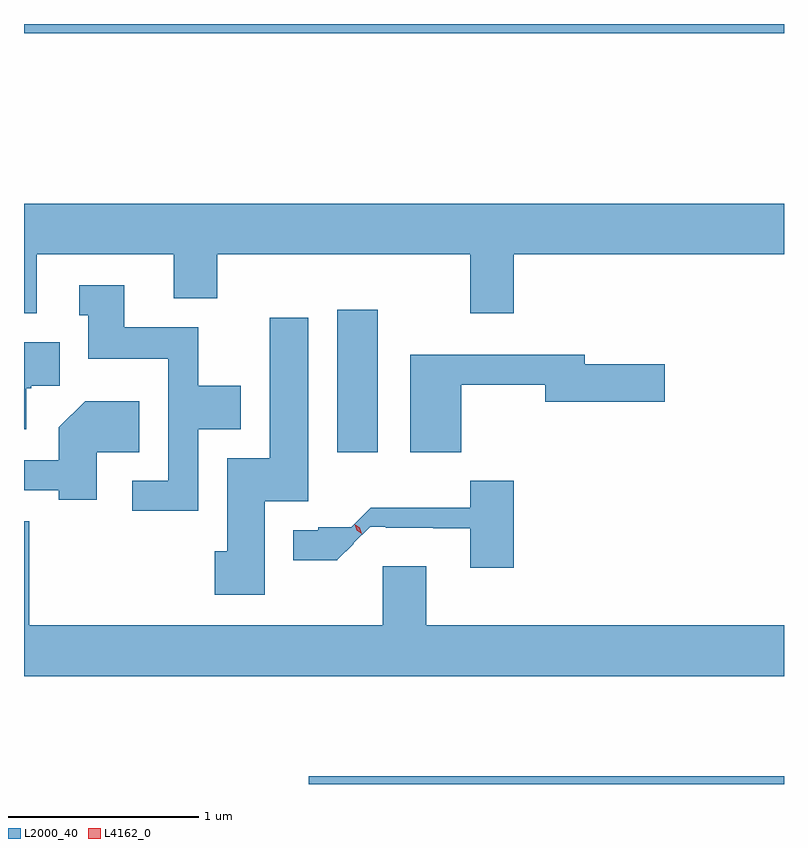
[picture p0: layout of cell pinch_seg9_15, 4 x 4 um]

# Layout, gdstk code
import gdstk
lib = gdstk.Library(unit=1e-6, precision=1e-09)
def R(c, l, rs):  # rectangles x0, y0, x1, y1
    for r in rs: c.add(gdstk.rectangle(r[:2], r[2:], *l))
def P(c, l, *ps):  # polygons
    for p in ps: c.add(gdstk.Polygon(p, *l))
L2000_40 = (2000, 40)
L4162_0 = (4162, 0)

pinch_seg9_15 = lib.new_cell('pinch_seg9_15')
R(pinch_seg9_15, L2000_40, [(857.451,2037.869,859.952,2037.909), (857.601,2039.616,857.814,2040.364), (855.952,2041.821,859.952,2041.869)])
P(pinch_seg9_15, L2000_40, [(856.019,2040.656),(856.741,2040.656),(856.741,2040.426),(856.969,2040.426),(856.969,2040.656),(858.301,2040.656),(858.301,2040.346),(858.529,2040.346),(858.529,2040.656),(859.952,2040.656),(859.952,2040.924),(855.952,2040.924),(855.952,2040.346),(856.019,2040.346)],
  [(856.869,2039.736),(857.094,2039.736),(857.094,2039.964),(856.869,2039.964),(856.869,2040.274),(856.479,2040.274),(856.479,2040.494),(856.243,2040.494),(856.243,2040.336),(856.291,2040.336),(856.291,2040.106),(856.711,2040.106),(856.711,2039.464),(856.523,2039.464),(856.523,2039.306),(856.869,2039.306)],
  [(857.219,2039.356),(857.449,2039.356),(857.449,2040.324),(857.246,2040.324),(857.246,2039.584),(857.021,2039.584),(857.021,2039.094),(856.956,2039.094),(856.956,2038.866),(857.219,2038.866)],
  [(855.964,2039.951),(855.99,2039.951),(855.99,2039.966),(856.139,2039.966),(856.139,2040.194),(855.952,2040.194),(855.952,2039.736),(855.964,2039.736)],
  [(858.254,2039.971),(858.696,2039.971),(858.696,2039.881),(859.324,2039.881),(859.324,2040.079),(858.904,2040.079),(858.904,2040.129),(857.986,2040.129),(857.986,2039.616),(858.254,2039.616)],
  [(856.334,2039.616),(856.559,2039.616),(856.559,2039.884),(856.274,2039.884),(856.136,2039.747),(856.136,2039.574),(855.952,2039.574),(855.952,2039.416),(856.136,2039.416),(856.136,2039.366),(856.334,2039.366)],
  [(858.529,2039.464),(858.301,2039.464),(858.301,2039.324),(857.778,2039.324),(857.674,2039.22),(857.5,2039.22),(857.5,2039.204),(857.368,2039.204),(857.368,2039.046),(857.6,2039.046),(857.6,2039.048),(857.687,2039.134),(857.686,2039.135),(857.775,2039.224),(857.856,2039.224),(857.856,2039.217),(858.105,2039.217),(858.105,2039.215),(858.301,2039.215),(858.301,2039.006),(858.529,2039.006)],
  [(859.952,2038.704),(858.069,2038.704),(858.069,2039.014),(857.841,2039.014),(857.841,2038.704),(855.979,2038.704),(855.979,2039.253),(855.952,2039.253),(855.952,2038.436),(859.952,2038.436)])
P(pinch_seg9_15, L4162_0, [(857.729,2039.185),(857.703,2039.205),(857.692,2039.237),(857.692,2039.237),(857.693,2039.237),(857.719,2039.217),(857.73,2039.186),(857.73,2039.185)],
  [(857.724,2039.192),(857.723,2039.193),(857.703,2039.205),(857.698,2039.229),(857.698,2039.23),(857.699,2039.23),(857.719,2039.217),(857.724,2039.193)])

lib.write_gds('pinch_seg9_15.gds')
